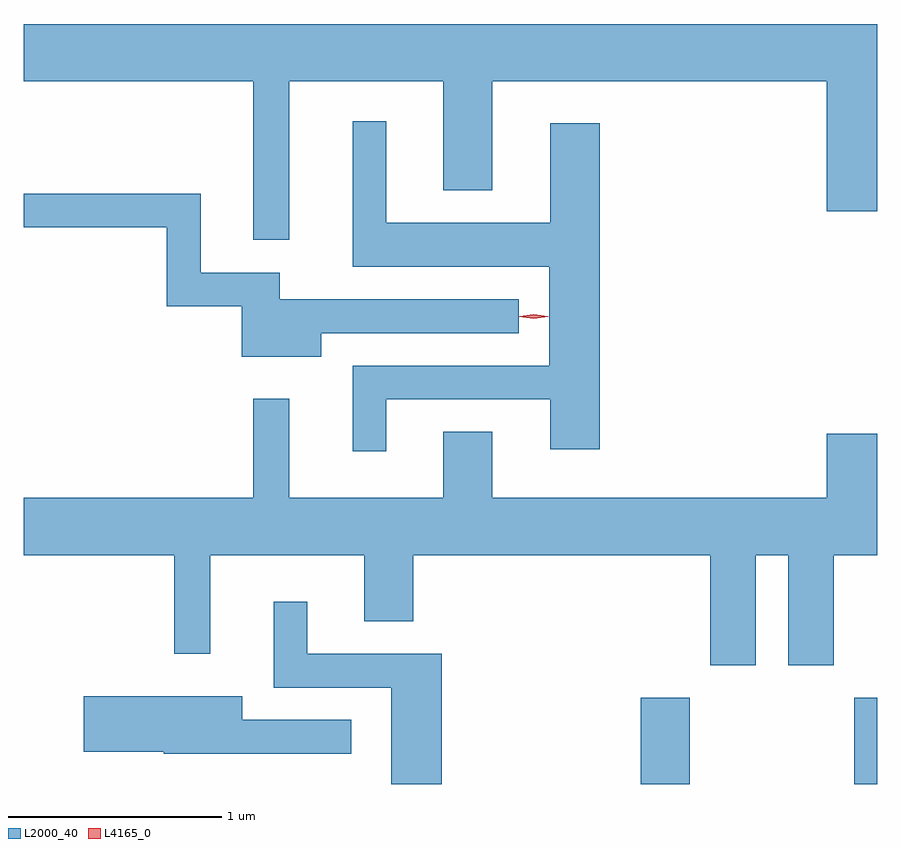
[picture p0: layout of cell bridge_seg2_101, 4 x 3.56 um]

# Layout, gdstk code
import gdstk
lib = gdstk.Library(unit=1e-6, precision=1e-09)
def R(c, l, rs):  # rectangles x0, y0, x1, y1
    for r in rs: c.add(gdstk.rectangle(r[:2], r[2:], *l))
def P(c, l, *ps):  # polygons
    for p in ps: c.add(gdstk.Polygon(p, *l))
L2000_40 = (2000, 40)
L4165_0 = (4165, 0)

bridge_seg2_101 = lib.new_cell('bridge_seg2_101')
R(bridge_seg2_101, L2000_40, [(1293.126,991.744,1293.354,992.149), (1294.126,991.744,1294.234,992.149)])
P(bridge_seg2_101, L2000_40, [(1291.479,995.036),(1292.201,995.036),(1292.201,994.526),(1292.429,994.526),(1292.429,995.036),(1293.996,995.036),(1293.996,994.426),(1294.234,994.426),(1294.234,995.304),(1290.234,995.304),(1290.234,995.036),(1291.311,995.036),(1291.311,994.293),(1291.479,994.293)],
  [(1291.934,993.546),(1292.701,993.546),(1292.701,993.311),(1292.934,993.311),(1292.934,994.839),(1292.701,994.839),(1292.701,994.374),(1291.934,994.374),(1291.934,994.848),(1291.776,994.848),(1291.776,994.166),(1292.696,994.166),(1292.696,993.704),(1291.776,993.704),(1291.776,993.303),(1291.934,993.303)],
  [(1291.629,993.856),(1292.553,993.856),(1292.553,994.014),(1291.434,994.014),(1291.434,994.139),(1291.064,994.139),(1291.064,994.509),(1290.234,994.509),(1290.234,994.351),(1290.906,994.351),(1290.906,993.981),(1291.256,993.981),(1291.256,993.746),(1291.629,993.746)],
  [(1291.831,992.506),(1292.059,992.506),(1292.059,992.816),(1293.451,992.816),(1293.451,992.301),(1293.664,992.301),(1293.664,992.816),(1293.816,992.816),(1293.816,992.301),(1294.029,992.301),(1294.029,992.816),(1294.234,992.816),(1294.234,993.384),(1293.996,993.384),(1293.996,993.084),(1292.429,993.084),(1292.429,993.394),(1292.201,993.394),(1292.201,993.084),(1291.479,993.084),(1291.479,993.548),(1291.311,993.548),(1291.311,993.084),(1290.234,993.084),(1290.234,992.816),(1290.941,992.816),(1290.941,992.353),(1291.109,992.353),(1291.109,992.816),(1291.831,992.816)],
  [(1292.194,992.354),(1291.564,992.354),(1291.564,992.598),(1291.406,992.598),(1291.406,992.196),(1291.956,992.196),(1291.956,991.744),(1292.194,991.744)],
  [(1291.768,992.044),(1291.259,992.044),(1291.259,992.154),(1290.516,992.154),(1290.516,991.896),(1290.89,991.896),(1290.89,991.886),(1291.768,991.886)])
P(bridge_seg2_101, L4165_0, [(1292.623,993.923),(1292.554,993.932),(1292.553,993.933),(1292.554,993.933),(1292.623,993.943),(1292.692,993.933),(1292.693,993.933),(1292.692,993.932)],
  [(1292.623,993.925),(1292.558,993.934),(1292.557,993.935),(1292.558,993.935),(1292.623,993.945),(1292.689,993.935),(1292.689,993.935),(1292.689,993.934)])

lib.write_gds('bridge_seg2_101.gds')
